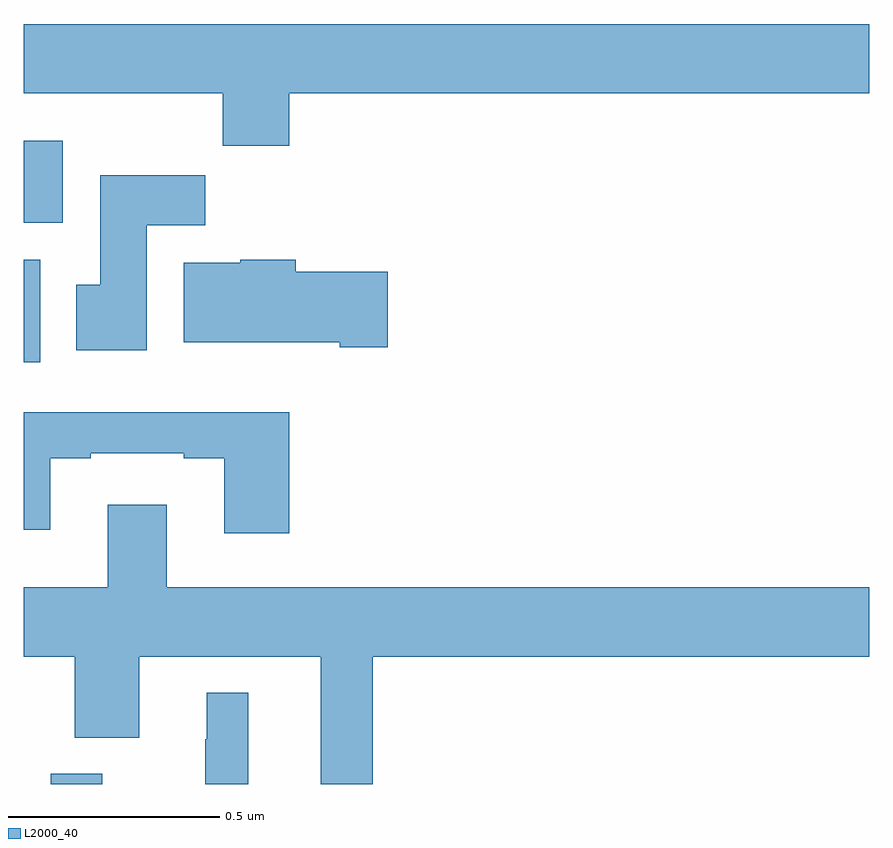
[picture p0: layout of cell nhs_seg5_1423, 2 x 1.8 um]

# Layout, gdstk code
import gdstk
lib = gdstk.Library(unit=1e-6, precision=1e-09)
def R(c, l, rs):  # rectangles x0, y0, x1, y1
    for r in rs: c.add(gdstk.rectangle(r[:2], r[2:], *l))
def P(c, l, *ps):  # polygons
    for p in ps: c.add(gdstk.Polygon(p, *l))
L2000_40 = (2000, 40)

nhs_seg5_1423 = lib.new_cell('nhs_seg5_1423')
R(nhs_seg5_1423, L2000_40, [(130.064,849.799,130.186,849.823), (130,850.796,130.039,851.038), (130,851.126,130.093,851.32)])
P(nhs_seg5_1423, L2000_40, [(130.628,851.432),(132,851.432),(132,851.596),(130,851.596),(130,851.432),(130.471,851.432),(130.471,851.308),(130.628,851.308)],
  [(130.291,851.12),(130.43,851.12),(130.43,851.238),(130.181,851.238),(130.181,850.98),(130.124,850.98),(130.124,850.824),(130.291,850.824)],
  [(130.861,851.01),(130.643,851.01),(130.643,851.038),(130.512,851.038),(130.512,851.032),(130.379,851.032),(130.379,850.844),(130.748,850.844),(130.748,850.832),(130.861,850.832)],
  [(130.628,850.678),(130,850.678),(130,850.4),(130.063,850.4),(130.063,850.569),(130.159,850.569),(130.159,850.581),(130.379,850.581),(130.379,850.569),(130.475,850.569),(130.475,850.392),(130.628,850.392)],
  [(130.826,850.1),(132,850.1),(132,850.264),(130.339,850.264),(130.339,850.459),(130.199,850.459),(130.199,850.264),(130,850.264),(130,850.1),(130.121,850.1),(130.121,849.908),(130.273,849.908),(130.273,850.1),(130.703,850.1),(130.703,849.799),(130.826,849.799)],
  [(130.531,850.015),(130.433,850.015),(130.433,849.905),(130.429,849.905),(130.429,849.799),(130.531,849.799)])

lib.write_gds('nhs_seg5_1423.gds')
